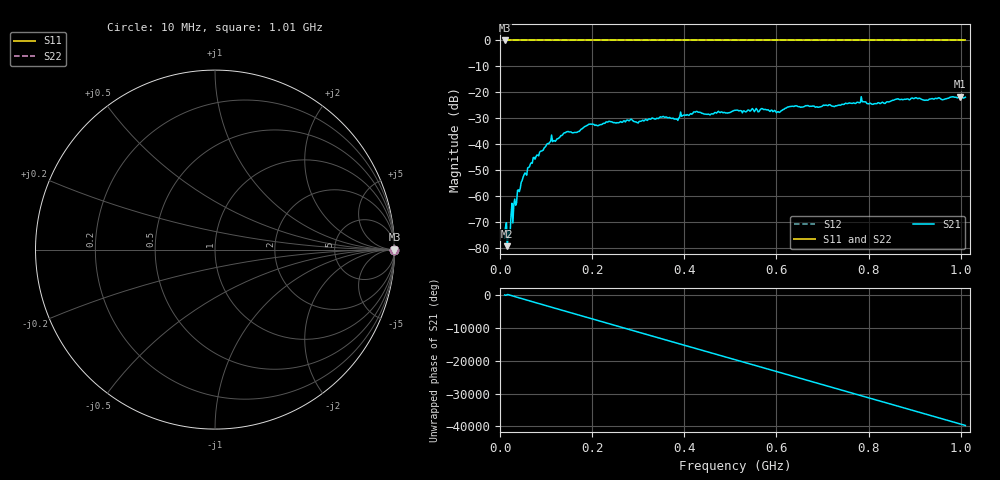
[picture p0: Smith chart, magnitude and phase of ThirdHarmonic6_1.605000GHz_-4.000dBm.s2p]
! 8/16/2025 7:08:22 PM
! C:\ANRITSUVNA\TEMP\TEMP.S2P
! CHANNEL.1
! TR.MEASUREMENT
! RAW.DATA
! RF.CORRECTION.OFF
! AVERAGING.OFF
! IF.BANDWIDTH: 5KHZ
! SWEEPTYPE:  FREQ.SWEEP(Linear)
! Reference Plane Port Info
! PORT:  PORT1  PORT2
! DISTANCE:  0  m  0  m
! TIME:  0  s  0  s
! PHASE.OFFSET:  0  deg.  0  deg.
! LOSS:  0  dB  0  dB
! REF.LOSS:  0  dB  0  dB
! REF.FREQ:  0  Hz  0  Hz
! Power Info
! POWER:  -20  dBm  -20  dBm
! EFF.POWER:  -20  dBm  -20  dBm
! SOURCE.ATTEN:  0  dB  0  dB
! TEST.ATTEN:  0  dB  0  dB
# GHZ S RI R 50.0
! FREQ.GHZ  S11RE  S11IM  S21RE  S21IM  S12RE  S12IM  S22RE  S22IM
!; PortSelection: Port_12
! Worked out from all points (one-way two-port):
!   501 points, 10 MHz to 1.01 GHz, reference 50 ohm
!   highest |S21| = -21.73 dB at 998 MHz (marker M1); lowest = -79.5 dB at 16 MHz (marker M2)
!   lowest |S11| = 0.0 dB at 10 MHz (marker M3)
!   |S11| at or under -10 dB: nowhere
!   |S22| runs from 0.0 to 0.0 dB; largest |S21 - S12| = 1.1
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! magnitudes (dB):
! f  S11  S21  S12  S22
! 10 MHz  0.0  -76.4  0.0  0.0
! 16 MHz  0.0  -79.5  0.0  0.0
! 20 MHz  0.0  -76.1  0.0  0.0
! 28 MHz  0.0  -70.5  0.0  0.0
! 32 MHz  0.0  -61.3  0.0  0.0
! 34 MHz  0.0  -63.7  0.0  0.0
! 50 MHz  0.0  -52.9  0.0  0.0
! 70 MHz  0.0  -47.4  0.0  0.0
! 108 MHz  0.0  -39.3  0.0  0.0
! 178 MHz  0.0  -34.1  0.0  0.0
! 196 MHz  0.0  -32.3  0.0  0.0
! 344 MHz  0.0  -30.2  0.0  0.0
! 382 MHz  0.0  -30.4  0.0  0.0
! 424 MHz  0.0  -27.7  0.0  0.0
! 452 MHz  0.0  -28.4  0.0  0.0
! 510 MHz  0.0  -27.0  0.0  0.0
! 604 MHz  0.0  -27.5  0.0  0.0
! 630 MHz  0.0  -25.5  0.0  0.0
! 678 MHz  0.0  -25.3  0.0  0.0
! 844 MHz  0.0  -23.7  0.0  0.0
! 998 MHz  0.0  -21.7  0.0  0.0
! 1.01 GHz  0.0  -21.9  0.0  0.0
